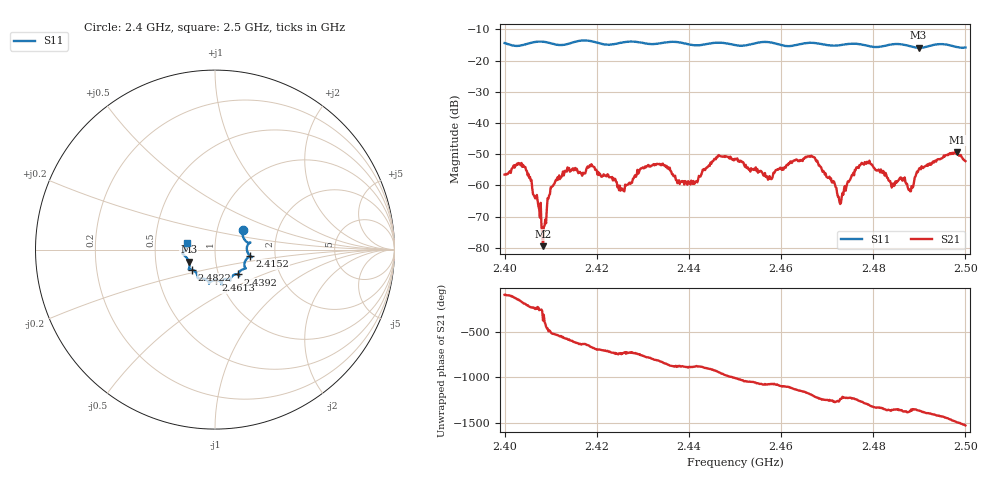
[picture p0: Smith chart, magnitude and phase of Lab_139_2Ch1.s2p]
# Hz S RI R 50
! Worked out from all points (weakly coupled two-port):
!   601 points, 2.4 GHz to 2.5 GHz, reference 50 ohm
!   highest |S21| = -49.31 dB at 2.4982 GHz (marker M1); lowest = -79.5 dB at 2.4083 GHz (marker M2)
!   lowest |S11| = -15.9 dB at 2.4898 GHz (marker M3), VSWR 1.38, Z = 37 - j5.04 ohm
!   |S11| at or under -10 dB: start of sweep to end of sweep
!   S12 and S22 are empty: the file has one direction only
!   S11 on the Smith chart (normalised r, x): 2.4 GHz: 1.33, +0.30; 2.4152 GHz: 1.48, -0.11; 2.4392 GHz: 1.23, -0.35; 2.4613 GHz: 0.96, -0.34; 2.4822 GHz: 0.76, -0.17; 2.5 GHz: 0.73, +0.05
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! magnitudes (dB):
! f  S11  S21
! 2.4 GHz  -14.4  -56.6
! 2.4042 GHz  -14.9  -54.0
! 2.4083 GHz  -14.0  -79.5
! 2.4105 GHz  -14.6  -60.2
! 2.4152 GHz  -14.0  -54.7
! 2.4167 GHz  -13.6  -56.2
! 2.419 GHz  -13.8  -53.7
! 2.4255 GHz  -14.2  -61.0
! 2.4333 GHz  -14.6  -53.2
! 2.4392 GHz  -14.5  -58.6
! 2.45 GHz  -15.0  -51.5
! 2.4575 GHz  -14.1  -57.1
! 2.4613 GHz  -15.4  -53.4
! 2.4667 GHz  -14.3  -50.7
! 2.4727 GHz  -15.1  -65.3
! 2.4772 GHz  -14.8  -53.6
! 2.4822 GHz  -15.4  -55.4
! 2.4833 GHz  -15.0  -58.4
! 2.4882 GHz  -15.5  -61.9
! 2.4898 GHz  -15.9  -55.1
! 2.4982 GHz  -15.7  -49.3
! 2.5 GHz  -15.8  -52.2
